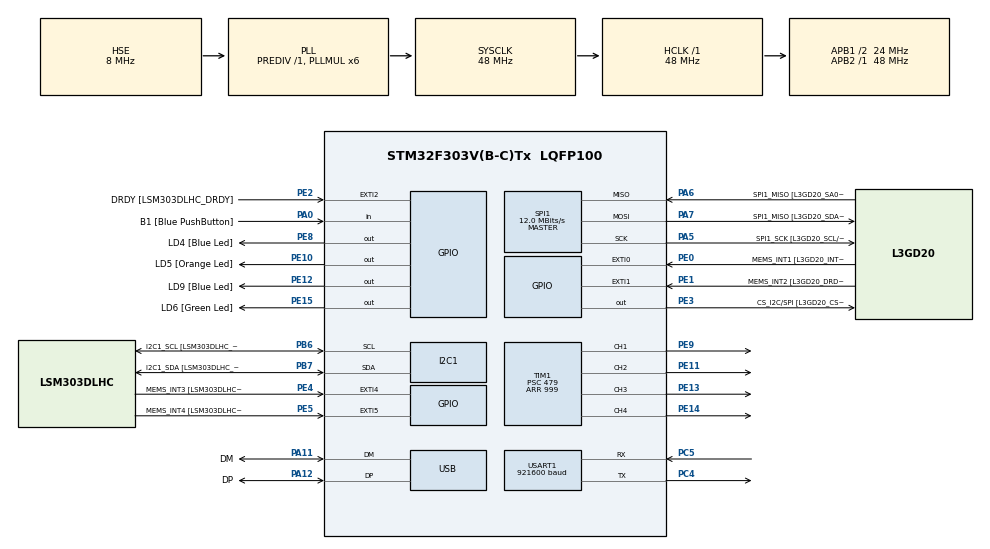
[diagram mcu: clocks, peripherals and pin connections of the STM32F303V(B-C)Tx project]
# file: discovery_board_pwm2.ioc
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I2C1.Timing=0x2000090E
I2C1.Timing-I2C=0x2000090E
Mcu.Family=STM32F3
Mcu.Name=STM32F303V(B-C)Tx
Mcu.Package=LQFP100
NVIC.PriorityGroup=NVIC_PRIORITYGROUP_0
PA0.GPIO_Label=B1 [Blue PushButton]
PA0.Signal=GPIO_Input
PA11.GPIO_Label=DM
PA11.Mode=Device
PA11.Signal=USB_DM
PA12.GPIO_Label=DP
PA12.Mode=Device
PA12.Signal=USB_DP
PA13.GPIO_Label=SWDIO
PA13.Mode=Serial_Wire
PA13.Signal=SYS_JTMS-SWDIO
PA14.GPIO_Label=SWCLK
PA14.Mode=Serial_Wire
PA14.Signal=SYS_JTCK-SWCLK
PA5.GPIO_Label=SPI1_SCK [L3GD20_SCL/SPC]
PA5.Mode=Full_Duplex_Master
PA5.Signal=SPI1_SCK
PA6.GPIO_Label=SPI1_MISO [L3GD20_SA0/SDO]
PA6.Mode=Full_Duplex_Master
PA6.Signal=SPI1_MISO
PA7.GPIO_Label=SPI1_MISO [L3GD20_SDA/SDI/SDO]
PA7.Mode=Full_Duplex_Master
PA7.Signal=SPI1_MOSI
PB3.GPIO_Label=SWO
PB3.Signal=SYS_JTDO-TRACESWO
PB6.GPIO_Label=I2C1_SCL [LSM303DLHC_SCL]
PB6.GPIO_Pu=GPIO_PULLUP
PB6.Mode=I2C
PB6.Signal=I2C1_SCL
PB7.GPIO_Label=I2C1_SDA [LSM303DLHC_SDA]
PB7.GPIO_Pu=GPIO_PULLUP
PB7.Mode=I2C
PB7.Signal=I2C1_SDA
PC14-OSC32_IN.GPIO_Label=OSC32_IN
PC14-OSC32_IN.Signal=RCC_OSC32_IN
PC15-OSC32_OUT.GPIO_Label=OSC32_OUT
PC15-OSC32_OUT.Signal=RCC_OSC32_OUT
PC4.Mode=Asynchronous
PC4.Signal=USART1_TX
PC5.Mode=Asynchronous
PC5.Signal=USART1_RX
PE0.GPIO_Label=MEMS_INT1 [L3GD20_INT1]
PE0.GPIO_ModeDefaultEXTI=GPIO_MODE_EVT_RISING
PE0.Signal=GPXTI0
PE1.GPIO_Label=MEMS_INT2 [L3GD20_DRDY/INT2]
PE1.GPIO_ModeDefaultEXTI=GPIO_MODE_EVT_RISING
PE1.Signal=GPXTI1
PE10.GPIO_Label=LD5 [Orange Led]
PE10.Signal=GPIO_Output
PE11.Signal=S_TIM1_CH2
PE12.GPIO_Label=LD9 [Blue Led]
PE12.Signal=GPIO_Output
PE13.Signal=S_TIM1_CH3
PE14.Signal=S_TIM1_CH4
PE15.GPIO_Label=LD6 [Green Led]
PE15.Signal=GPIO_Output
PE2.GPIO_Label=DRDY [LSM303DLHC_DRDY]
PE2.GPIO_ModeDefaultEXTI=GPIO_MODE_EVT_RISING
PE2.Signal=GPXTI2
PE3.GPIO_Label=CS_I2C/SPI [L3GD20_CS_I2C/SPI]
PE3.Signal=GPIO_Output
PE4.GPIO_Label=MEMS_INT3 [LSM303DLHC_INT1]
PE4.GPIO_ModeDefaultEXTI=GPIO_MODE_EVT_RISING
PE4.Signal=GPXTI4
PE5.GPIO_Label=MEMS_INT4 [LSM303DLHC_INT2]
PE5.GPIO_ModeDefaultEXTI=GPIO_MODE_EVT_RISING
PE5.Signal=GPXTI5
PE8.GPIO_Label=LD4 [Blue Led]
PE8.Signal=GPIO_Output
PE9.Signal=S_TIM1_CH1
PF0-OSC_IN.GPIO_Label=OSC_IN
PF0-OSC_IN.Mode=HSE-External-Clock-Source
PF0-OSC_IN.Signal=RCC_OSC_IN
PF1-OSC_OUT.GPIO_Label=OSC_OUT
PF1-OSC_OUT.Signal=RCC_OSC_OUT
ProjectManager.HeapSize=0x200
ProjectManager.StackSize=0x400
ProjectManager.TargetToolchain=STM32CubeIDE
RCC.AHBFreq_Value=48000000
RCC.APB1CLKDivider=RCC_HCLK_DIV2
RCC.APB1Freq_Value=24000000
RCC.APB1TimFreq_Value=48000000
RCC.APB2Freq_Value=48000000
RCC.APB2TimFreq_Value=48000000
RCC.CortexFreq_Value=48000000
RCC.HCLKFreq_Value=48000000
RCC.HSE_VALUE=8000000
RCC.HSI_VALUE=8000000
RCC.LSE_VALUE=32768
RCC.PLLMUL=RCC_PLL_MUL6
RCC.SYSCLKFreq_VALUE=48000000
RCC.SYSCLKSourceVirtual=RCC_SYSCLKSOURCE_PLLCLK
RCC.USBFreq_Value=48000000
SH.S_TIM1_CH1.0=TIM1_CH1,PWM Generation1 CH1
SH.S_TIM1_CH2.0=TIM1_CH2,PWM Generation2 CH2
SH.S_TIM1_CH3.0=TIM1_CH3,PWM Generation3 CH3
SH.S_TIM1_CH4.0=TIM1_CH4,PWM Generation4 CH4
SPI1.BaudRatePrescaler=SPI_BAUDRATEPRESCALER_4
SPI1.BaudRatePrescaler-Full_Duplex_Master=SPI_BAUDRATEPRESCALER_2
SPI1.CalculateBaudRate=12.0 MBits/s
SPI1.CalculateBaudRate-Full_Duplex_Master=24.0 MBits/s
SPI1.Direction=SPI_DIRECTION_2LINES
SPI1.Mode=SPI_MODE_MASTER
SPI1.Mode-Full_Duplex_Master=SPI_MODE_MASTER
SPI1.VirtualType=VM_MASTER
TIM1.Channel-PWM\ Generation1\ CH1=TIM_CHANNEL_1
TIM1.Channel-PWM\ Generation2\ CH2=TIM_CHANNEL_2
TIM1.Channel-PWM\ Generation3\ CH3=TIM_CHANNEL_3
TIM1.Channel-PWM\ Generation4\ CH4=TIM_CHANNEL_4
TIM1.OCPolarity_1=TIM_OCPOLARITY_LOW
TIM1.OCPolarity_2=TIM_OCPOLARITY_LOW
TIM1.OCPolarity_3=TIM_OCPOLARITY_LOW
TIM1.OCPolarity_4=TIM_OCPOLARITY_LOW
TIM1.Period=999
TIM1.Prescaler=479
USART1.BaudRate=921600
USART1.VirtualMode-Asynchronous=VM_ASYNC
VP_TIM1_VS_ClockSourceINT.Mode=Internal
board=STM32F3DISCOVERY

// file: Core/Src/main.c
/* USER CODE BEGIN Header */
/**
  ******************************************************************************
  * @file           : main.c
  * @brief          : Main program body
  ******************************************************************************
  * @attention
  *
  * Copyright (c) 2025 STMicroelectronics.
  * All rights reserved.
  *
  * This software is licensed under terms that can be found in the LICENSE file
  * in the root directory of this software component.
  * If no LICENSE file comes with this software, it is provided AS-IS.
  *
  ******************************************************************************
  */
/* USER CODE END Header */
#include "main.h"

/* USER CODE BEGIN Includes */
#include <stdio.h>
/* USER CODE END Includes */

I2C_HandleTypeDef hi2c1;

SPI_HandleTypeDef hspi1;

TIM_HandleTypeDef htim1;

UART_HandleTypeDef huart1;

PCD_HandleTypeDef hpcd_USB_FS;

void SystemClock_Config(void);
static void MX_GPIO_Init(void);
static void MX_I2C1_Init(void);
static void MX_SPI1_Init(void);
static void MX_USB_PCD_Init(void);
static void MX_TIM1_Init(void);
static void MX_USART1_UART_Init(void);

/* USER CODE BEGIN 0 */

// Send printf to uart1
int _write(int fd, char* ptr, int len) {
  HAL_StatusTypeDef hstatus;

  if (fd == 1 || fd == 2) {
    hstatus = HAL_UART_Transmit(&huart1, (uint8_t *) ptr, len, HAL_MAX_DELAY);
    if (hstatus == HAL_OK)
      return len;
    else
      return -1;
  }
  return -1;
}

/* USER CODE END 0 */

int main(void)
{

  /* MCU Configuration--------------------------------------------------------*/

  /* Reset of all peripherals, Initializes the Flash interface and the Systick. */
  HAL_Init();

  /* Configure the system clock */
  SystemClock_Config();

  /* Initialize all configured peripherals */
  MX_GPIO_Init();
  MX_I2C1_Init();
  MX_SPI1_Init();
  MX_USB_PCD_Init();
  MX_TIM1_Init();
  MX_USART1_UART_Init();
  /* USER CODE BEGIN 2 */

  printf("\n\n\nPWM2 starting\n");

  printf("Starting timer channel");
  HAL_TIM_PWM_Start(&htim1, TIM_CHANNEL_1);
  HAL_TIM_PWM_Start(&htim1, TIM_CHANNEL_2);
  HAL_TIM_PWM_Start(&htim1, TIM_CHANNEL_3);
  HAL_TIM_PWM_Start(&htim1, TIM_CHANNEL_4);

  /* USER CODE END 2 */

  /* Infinite loop */
  /* USER CODE BEGIN WHILE */

  uint16_t pwm_value = 0;
  int8_t pwm_change = 1;

  uint32_t now = 0, loop_cnt = 0, next_tick = 1000, next_change = 0;

  while (1)
  {
	  now = uwTick;

	  if ( now >= next_tick) {

		  printf("Tick %lu ( loop = %lu)\n", now / 1000, loop_cnt);

		  loop_cnt = 0;
		  next_tick = now + 1000;
	  }

	  if ( now > next_change) {

		  __HAL_TIM_SET_COMPARE(&htim1, TIM_CHANNEL_1, pwm_value);
		  __HAL_TIM_SET_COMPARE(&htim1, TIM_CHANNEL_2, 1000 - pwm_value);
		  __HAL_TIM_SET_COMPARE(&htim1, TIM_CHANNEL_3, pwm_value);
		  __HAL_TIM_SET_COMPARE(&htim1, TIM_CHANNEL_4, 1000 - pwm_value);

		  pwm_value += pwm_change;

		  if(pwm_value == 0) pwm_change = 1;
		  if(pwm_value == 1000) pwm_change = -1;

		  next_change = now + 2;
	  }
	  ++loop_cnt;
    /* USER CODE END WHILE */

  }
}

void SystemClock_Config(void)
{
  RCC_OscInitTypeDef RCC_OscInitStruct = {0};
  RCC_ClkInitTypeDef RCC_ClkInitStruct = {0};
  RCC_PeriphCLKInitTypeDef PeriphClkInit = {0};

  /** Initializes the RCC Oscillators according to the specified parameters
  * in the RCC_OscInitTypeDef structure.
  */
  RCC_OscInitStruct.OscillatorType = RCC_OSCILLATORTYPE_HSI|RCC_OSCILLATORTYPE_HSE;
  RCC_OscInitStruct.HSEState = RCC_HSE_BYPASS;
  RCC_OscInitStruct.HSEPredivValue = RCC_HSE_PREDIV_DIV1;
  RCC_OscInitStruct.HSIState = RCC_HSI_ON;
  RCC_OscInitStruct.HSICalibrationValue = RCC_HSICALIBRATION_DEFAULT;
  RCC_OscInitStruct.PLL.PLLState = RCC_PLL_ON;
  RCC_OscInitStruct.PLL.PLLSource = RCC_PLLSOURCE_HSE;
  RCC_OscInitStruct.PLL.PLLMUL = RCC_PLL_MUL6;
  if (HAL_RCC_OscConfig(&RCC_OscInitStruct) != HAL_OK)
  {
    Error_Handler();
  }

  /** Initializes the CPU, AHB and APB buses clocks
  */
  RCC_ClkInitStruct.ClockType = RCC_CLOCKTYPE_HCLK|RCC_CLOCKTYPE_SYSCLK
                              |RCC_CLOCKTYPE_PCLK1|RCC_CLOCKTYPE_PCLK2;
  RCC_ClkInitStruct.SYSCLKSource = RCC_SYSCLKSOURCE_PLLCLK;
  RCC_ClkInitStruct.AHBCLKDivider = RCC_SYSCLK_DIV1;
  RCC_ClkInitStruct.APB1CLKDivider = RCC_HCLK_DIV2;
  RCC_ClkInitStruct.APB2CLKDivider = RCC_HCLK_DIV1;

  if (HAL_RCC_ClockConfig(&RCC_ClkInitStruct, FLASH_LATENCY_1) != HAL_OK)
  {
    Error_Handler();
  }
  PeriphClkInit.PeriphClockSelection = RCC_PERIPHCLK_USB|RCC_PERIPHCLK_USART1
                              |RCC_PERIPHCLK_I2C1|RCC_PERIPHCLK_TIM1;
  PeriphClkInit.Usart1ClockSelection = RCC_USART1CLKSOURCE_PCLK2;
  PeriphClkInit.I2c1ClockSelection = RCC_I2C1CLKSOURCE_HSI;
  PeriphClkInit.USBClockSelection = RCC_USBCLKSOURCE_PLL;
  PeriphClkInit.Tim1ClockSelection = RCC_TIM1CLK_HCLK;
  if (HAL_RCCEx_PeriphCLKConfig(&PeriphClkInit) != HAL_OK)
  {
    Error_Handler();
  }
}

static void MX_I2C1_Init(void)
{

  hi2c1.Instance = I2C1;
  hi2c1.Init.Timing = 0x2000090E;
  hi2c1.Init.OwnAddress1 = 0;
  hi2c1.Init.AddressingMode = I2C_ADDRESSINGMODE_7BIT;
  hi2c1.Init.DualAddressMode = I2C_DUALADDRESS_DISABLE;
  hi2c1.Init.OwnAddress2 = 0;
  hi2c1.Init.OwnAddress2Masks = I2C_OA2_NOMASK;
  hi2c1.Init.GeneralCallMode = I2C_GENERALCALL_DISABLE;
  hi2c1.Init.NoStretchMode = I2C_NOSTRETCH_DISABLE;
  if (HAL_I2C_Init(&hi2c1) != HAL_OK)
  {
    Error_Handler();
  }

  /** Configure Analogue filter
  */
  if (HAL_I2CEx_ConfigAnalogFilter(&hi2c1, I2C_ANALOGFILTER_ENABLE) != HAL_OK)
  {
    Error_Handler();
  }

  /** Configure Digital filter
  */
  if (HAL_I2CEx_ConfigDigitalFilter(&hi2c1, 0) != HAL_OK)
  {
    Error_Handler();
  }

}

static void MX_SPI1_Init(void)
{

  /* SPI1 parameter configuration*/
  hspi1.Instance = SPI1;
  hspi1.Init.Mode = SPI_MODE_MASTER;
  hspi1.Init.Direction = SPI_DIRECTION_2LINES;
  hspi1.Init.DataSize = SPI_DATASIZE_4BIT;
  hspi1.Init.CLKPolarity = SPI_POLARITY_LOW;
  hspi1.Init.CLKPhase = SPI_PHASE_1EDGE;
  hspi1.Init.NSS = SPI_NSS_SOFT;
  hspi1.Init.BaudRatePrescaler = SPI_BAUDRATEPRESCALER_4;
  hspi1.Init.FirstBit = SPI_FIRSTBIT_MSB;
  hspi1.Init.TIMode = SPI_TIMODE_DISABLE;
  hspi1.Init.CRCCalculation = SPI_CRCCALCULATION_DISABLE;
  hspi1.Init.CRCPolynomial = 7;
  hspi1.Init.CRCLength = SPI_CRC_LENGTH_DATASIZE;
  hspi1.Init.NSSPMode = SPI_NSS_PULSE_ENABLE;
  if (HAL_SPI_Init(&hspi1) != HAL_OK)
  {
    Error_Handler();
  }

}

static void MX_TIM1_Init(void)
{

  TIM_ClockConfigTypeDef sClockSourceConfig = {0};
  TIM_MasterConfigTypeDef sMasterConfig = {0};
  TIM_OC_InitTypeDef sConfigOC = {0};
  TIM_BreakDeadTimeConfigTypeDef sBreakDeadTimeConfig = {0};

  htim1.Instance = TIM1;
  htim1.Init.Prescaler = 479;
  htim1.Init.CounterMode = TIM_COUNTERMODE_UP;
  htim1.Init.Period = 999;
  htim1.Init.ClockDivision = TIM_CLOCKDIVISION_DIV1;
  htim1.Init.RepetitionCounter = 0;
  htim1.Init.AutoReloadPreload = TIM_AUTORELOAD_PRELOAD_DISABLE;
  if (HAL_TIM_Base_Init(&htim1) != HAL_OK)
  {
    Error_Handler();
  }
  sClockSourceConfig.ClockSource = TIM_CLOCKSOURCE_INTERNAL;
  if (HAL_TIM_ConfigClockSource(&htim1, &sClockSourceConfig) != HAL_OK)
  {
    Error_Handler();
  }
  if (HAL_TIM_PWM_Init(&htim1) != HAL_OK)
  {
    Error_Handler();
  }
  sMasterConfig.MasterOutputTrigger = TIM_TRGO_RESET;
  sMasterConfig.MasterOutputTrigger2 = TIM_TRGO2_RESET;
  sMasterConfig.MasterSlaveMode = TIM_MASTERSLAVEMODE_DISABLE;
  if (HAL_TIMEx_MasterConfigSynchronization(&htim1, &sMasterConfig) != HAL_OK)
  {
    Error_Handler();
  }
  sConfigOC.OCMode = TIM_OCMODE_PWM1;
  sConfigOC.Pulse = 0;
  sConfigOC.OCPolarity = TIM_OCPOLARITY_LOW;
  sConfigOC.OCNPolarity = TIM_OCNPOLARITY_HIGH;
  sConfigOC.OCFastMode = TIM_OCFAST_DISABLE;
  sConfigOC.OCIdleState = TIM_OCIDLESTATE_RESET;
  sConfigOC.OCNIdleState = TIM_OCNIDLESTATE_RESET;
  if (HAL_TIM_PWM_ConfigChannel(&htim1, &sConfigOC, TIM_CHANNEL_1) != HAL_OK)
  {
    Error_Handler();
  }
  if (HAL_TIM_PWM_ConfigChannel(&htim1, &sConfigOC, TIM_CHANNEL_2) != HAL_OK)
  {
    Error_Handler();
  }
  if (HAL_TIM_PWM_ConfigChannel(&htim1, &sConfigOC, TIM_CHANNEL_3) != HAL_OK)
  {
    Error_Handler();
  }
  if (HAL_TIM_PWM_ConfigChannel(&htim1, &sConfigOC, TIM_CHANNEL_4) != HAL_OK)
  {
    Error_Handler();
  }
  sBreakDeadTimeConfig.OffStateRunMode = TIM_OSSR_DISABLE;
  sBreakDeadTimeConfig.OffStateIDLEMode = TIM_OSSI_DISABLE;
  sBreakDeadTimeConfig.LockLevel = TIM_LOCKLEVEL_OFF;
  sBreakDeadTimeConfig.DeadTime = 0;
  sBreakDeadTimeConfig.BreakState = TIM_BREAK_DISABLE;
  sBreakDeadTimeConfig.BreakPolarity = TIM_BREAKPOLARITY_HIGH;
  sBreakDeadTimeConfig.BreakFilter = 0;
  sBreakDeadTimeConfig.Break2State = TIM_BREAK2_DISABLE;
  sBreakDeadTimeConfig.Break2Polarity = TIM_BREAK2POLARITY_HIGH;
  sBreakDeadTimeConfig.Break2Filter = 0;
  sBreakDeadTimeConfig.AutomaticOutput = TIM_AUTOMATICOUTPUT_DISABLE;
  if (HAL_TIMEx_ConfigBreakDeadTime(&htim1, &sBreakDeadTimeConfig) != HAL_OK)
  {
    Error_Handler();
  }
  HAL_TIM_MspPostInit(&htim1);

}

static void MX_USART1_UART_Init(void)
{

  huart1.Instance = USART1;
  huart1.Init.BaudRate = 921600;
  huart1.Init.WordLength = UART_WORDLENGTH_8B;
  huart1.Init.StopBits = UART_STOPBITS_1;
  huart1.Init.Parity = UART_PARITY_NONE;
  huart1.Init.Mode = UART_MODE_TX_RX;
  huart1.Init.HwFlowCtl = UART_HWCONTROL_NONE;
  huart1.Init.OverSampling = UART_OVERSAMPLING_16;
  huart1.Init.OneBitSampling = UART_ONE_BIT_SAMPLE_DISABLE;
  huart1.AdvancedInit.AdvFeatureInit = UART_ADVFEATURE_NO_INIT;
  if (HAL_UART_Init(&huart1) != HAL_OK)
  {
    Error_Handler();
  }

}

static void MX_USB_PCD_Init(void)
{

  hpcd_USB_FS.Instance = USB;
  hpcd_USB_FS.Init.dev_endpoints = 8;
  hpcd_USB_FS.Init.speed = PCD_SPEED_FULL;
  hpcd_USB_FS.Init.phy_itface = PCD_PHY_EMBEDDED;
  hpcd_USB_FS.Init.low_power_enable = DISABLE;
  hpcd_USB_FS.Init.battery_charging_enable = DISABLE;
  if (HAL_PCD_Init(&hpcd_USB_FS) != HAL_OK)
  {
    Error_Handler();
  }

}

static void MX_GPIO_Init(void)
{
  GPIO_InitTypeDef GPIO_InitStruct = {0};

  /* GPIO Ports Clock Enable */
  __HAL_RCC_GPIOE_CLK_ENABLE();
  __HAL_RCC_GPIOC_CLK_ENABLE();
  __HAL_RCC_GPIOF_CLK_ENABLE();
  __HAL_RCC_GPIOA_CLK_ENABLE();
  __HAL_RCC_GPIOB_CLK_ENABLE();

  /*Configure GPIO pin Output Level */
  HAL_GPIO_WritePin(GPIOE, CS_I2C_SPI_Pin|LD4_Pin|LD5_Pin|LD9_Pin
                          |LD6_Pin, GPIO_PIN_RESET);

  /*Configure GPIO pins : DRDY_Pin MEMS_INT3_Pin MEMS_INT4_Pin MEMS_INT1_Pin
                           MEMS_INT2_Pin */
  GPIO_InitStruct.Pin = DRDY_Pin|MEMS_INT3_Pin|MEMS_INT4_Pin|MEMS_INT1_Pin
                          |MEMS_INT2_Pin;
  GPIO_InitStruct.Mode = GPIO_MODE_EVT_RISING;
  GPIO_InitStruct.Pull = GPIO_NOPULL;
  HAL_GPIO_Init(GPIOE, &GPIO_InitStruct);

  /*Configure GPIO pins : CS_I2C_SPI_Pin LD4_Pin LD5_Pin LD9_Pin
                           LD6_Pin */
  GPIO_InitStruct.Pin = CS_I2C_SPI_Pin|LD4_Pin|LD5_Pin|LD9_Pin
                          |LD6_Pin;
  GPIO_InitStruct.Mode = GPIO_MODE_OUTPUT_PP;
  GPIO_InitStruct.Pull = GPIO_NOPULL;
  GPIO_InitStruct.Speed = GPIO_SPEED_FREQ_LOW;
  HAL_GPIO_Init(GPIOE, &GPIO_InitStruct);

  /*Configure GPIO pin : B1_Pin */
  GPIO_InitStruct.Pin = B1_Pin;
  GPIO_InitStruct.Mode = GPIO_MODE_INPUT;
  GPIO_InitStruct.Pull = GPIO_NOPULL;
  HAL_GPIO_Init(B1_GPIO_Port, &GPIO_InitStruct);

}

void Error_Handler(void)
{
  __disable_irq();
  while (1)
  {
  }
}
